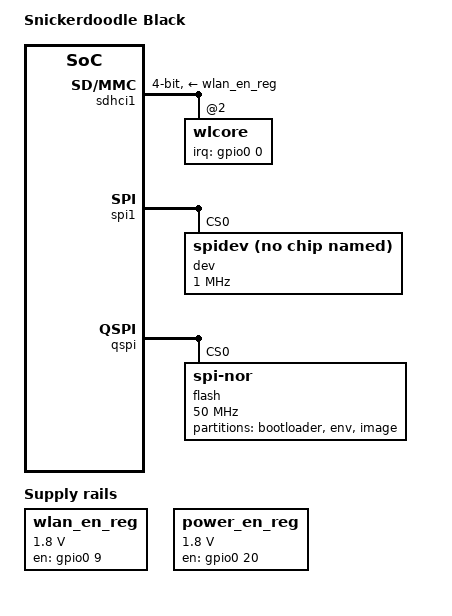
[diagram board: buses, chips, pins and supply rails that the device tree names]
/include/ "system-conf.dtsi"

#include <dt-bindings/gpio/gpio.h>
#include <dt-bindings/interrupt-controller/irq.h>

/ {
    model = "Snickerdoodle Black";

    /* SDSoC */
    xlnk {
        compatible = "xlnx,xlnk-1.0";
    };

    wlan_en_reg: fixedregulator@2 {
        compatible = "regulator-fixed";
        regulator-name = "wlan-en-regulator";
        regulator-min-microvolt = <1800000>;
        regulator-max-microvolt = <1800000>;
        startup-delay-us = <70000>;

        /* WLAN_EN GPIO for this board - Bank1, pin16 */
        gpio = <&gpio0 9 GPIO_ACTIVE_HIGH>;
        enable-active-high;
    };

    power_en_reg: fixed-regulator-powen {
        compatible = "regulator-fixed";
        regulator-name = "power-en-regulator";
        gpio = <&gpio0 20 4>;
        regulator-min-microvolt = <1800000>;
        regulator-max-microvolt = <1800000>;
        startup-delay-us = <70000>;
        regulator-always-on;
        enable-active-high;
    };
};

&sdhci1 {
    status = "okay";

    vmmc-supply = <&wlan_en_reg>;
    bus-width = <4>;
    cap-power-off-card;
    keep-power-in-suspend;
    #address-cells = <1>;
    #size-cells = <0>;

    wlcore: wlcore@2 {
        compatible = "ti,wl1837";
        reg = <2>;
        interrupt-parent = <&gpio0>;
        interrupts = <0 IRQ_TYPE_LEVEL_HIGH>;
    };
};

&wlcore {
    compatible = "wlcore", "ti,wl1837";
};

&spi1 {
    status = "okay";
    num-cs = <1>;
    is-decoded-cs = <0>;
    #address-cells = <1>;
    #size-cells = <0>;

    dev@0 {
        compatible = "linux,spidev";
        reg = <0>;
        spi-max-frequency = <1000000>;
    };
};

&qspi {
    status = "okay";
    is-dual = <0>;
    num-cs = <1>;
    xlnx,qspi-mode = <1>;

    flash@0 {
        /* n25q128a: 16MiB */
        #address-cells = <1>;
        #size-cells =<1>;
        compatible = "jedec,spi-nor";
        reg = <0>;
        spi-max-frequency = <50000000>;
        m25p,fast-read;

        partition@bootloader {
            /* BOOT.bin */
            label = "bootloader";
            reg = <0x0 0xe0000>;
        };
        partition@env {
            label = "env";
            reg = <0xe0000 0x20000>;
        };
        partition@image {
            /* image.ub */
            label = "image";
            reg = <0x100000 0x500000>;
        };
    };
};
